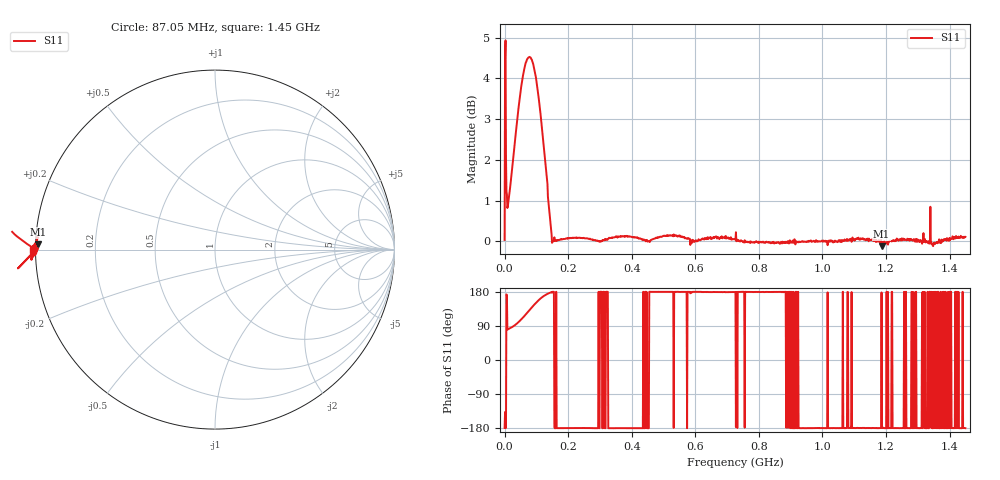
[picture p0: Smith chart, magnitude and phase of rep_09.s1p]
! Created with skrf 1.11.0 (http://scikit-rf.org).
# Hz S RI R 50.0
!freq ReS11 ImS11
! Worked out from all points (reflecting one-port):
!   1001 points, 50 kHz to 1.45 GHz, reference 50 ohm
!   lowest |S11| = -0.1 dB at 1.186 GHz (marker M1), VSWR 149.59, Z = 0.334 + j0.763 ohm
!   phase of S11 starts at -179 deg and turns -0 deg over the sweep
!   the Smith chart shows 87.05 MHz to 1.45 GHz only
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50000  -1.004 -0.0101
8749700  0.1889 1.083
1.019965e7  0.1777 1.09
1.16496e7  0.1667 1.104
1.599945e7  0.1349 1.144
2.61491e7  0.0388 1.254
3.48488e7  -0.0827 1.351
4.64484e7  -0.31 1.453
5.51481e7  -0.5249 1.485
6.38478e7  -0.7569 1.454
7.399745e7  -1.018 1.336
8.7047e7  -1.276 1.068
9.86466e7  -1.387 0.7764
1.073463e8  -1.39 0.5617
1.17496e8  -1.336 0.3504
1.261956e8  -1.258 0.213
1.363453e8  -1.13 0.0991
1.43595e8  -1.06 0.0408
1.522948e8  -1 0.0015
1.812938e8  -1.006 -0.00587
3.625375e8  -1.014 -0.00339
5.437812e8  -1.014 0.00295
7.25025e8  -1.006 0.0125
9.062688e8  -1.002 -0.00141
1.087512e9  -1.005 -0.0132
1.186109e9  -0.9863 0.0301
1.268756e9  -1.005 -0.00281
1.45e9  -1.013 -0.00138
